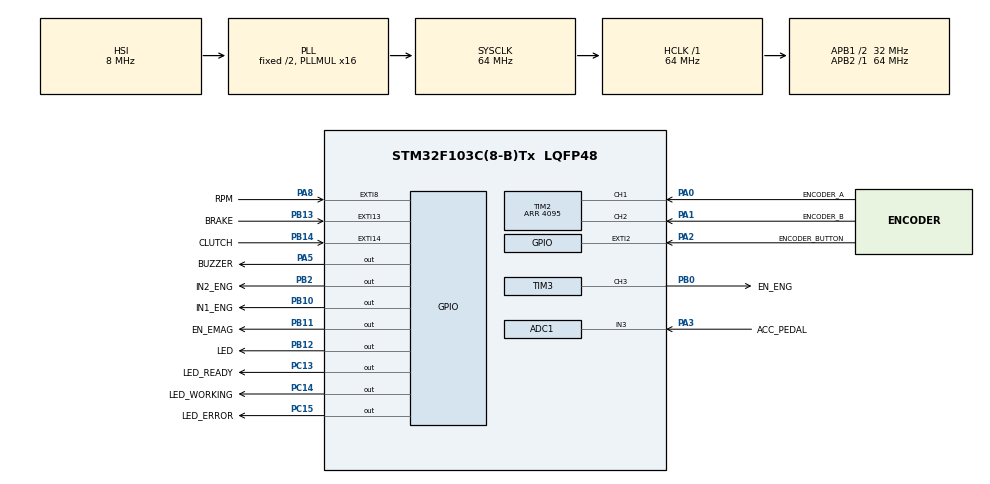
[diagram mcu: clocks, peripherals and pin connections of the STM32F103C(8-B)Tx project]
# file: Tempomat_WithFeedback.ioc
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ADC1.Channel-0\#ChannelRegularConversion=ADC_CHANNEL_3
ADC1.ContinuousConvMode=ENABLE
ADC1.NbrOfConversionFlag=1
ADC1.Rank-0\#ChannelRegularConversion=1
ADC1.SamplingTime-0\#ChannelRegularConversion=ADC_SAMPLETIME_239CYCLES_5
ADC1.master=1
Dma.ADC1.0.Direction=DMA_PERIPH_TO_MEMORY
Dma.ADC1.0.Instance=DMA1_Channel1
Dma.ADC1.0.MemDataAlignment=DMA_MDATAALIGN_HALFWORD
Dma.ADC1.0.MemInc=DMA_MINC_ENABLE
Dma.ADC1.0.Mode=DMA_CIRCULAR
Dma.ADC1.0.PeriphDataAlignment=DMA_PDATAALIGN_HALFWORD
Dma.ADC1.0.PeriphInc=DMA_PINC_DISABLE
Dma.ADC1.0.Priority=DMA_PRIORITY_LOW
Dma.Request0=ADC1
FREERTOS.INCLUDE_vTaskDelayUntil=1
FREERTOS.Tasks01=My_Task_1000ms,0,256,Start_My_Task_1000ms,Default,NULL,Dynamic,NULL,NULL;EngineControl,-1,128,Start_EngineControl,Default,NULL,Dynamic,NULL,NULL
FREERTOS.configUSE_NEWLIB_REENTRANT=0
Mcu.Family=STM32F1
Mcu.Name=STM32F103C(8-B)Tx
Mcu.Package=LQFP48
NVIC.DMA1_Channel1_IRQn=true\:5\:0\:false\:false\:true\:true\:false\:true
NVIC.EXTI15_10_IRQn=true\:5\:0\:false\:false\:true\:true\:true\:true
NVIC.EXTI2_IRQn=true\:8\:0\:true\:false\:true\:true\:true\:true
NVIC.EXTI9_5_IRQn=true\:5\:0\:true\:false\:true\:true\:true\:true
NVIC.PriorityGroup=NVIC_PRIORITYGROUP_4
NVIC.TIM1_UP_IRQn=true\:0\:0\:false\:false\:true\:false\:true\:true
NVIC.TimeBase=TIM1_UP_IRQn
NVIC.TimeBaseIP=TIM1
PA0-WKUP.GPIO_Label=ENCODER_A
PA0-WKUP.Signal=S_TIM2_CH1_ETR
PA1.GPIO_Label=ENCODER_B
PA1.Signal=S_TIM2_CH2
PA13.Mode=Serial_Wire
PA13.Signal=SYS_JTMS-SWDIO
PA14.Mode=Serial_Wire
PA14.Signal=SYS_JTCK-SWCLK
PA2.GPIO_Label=ENCODER_BUTTON
PA2.GPIO_PuPd=GPIO_PULLUP
PA2.Signal=GPXTI2
PA3.GPIO_Label=ACC_PEDAL
PA3.Signal=ADCx_IN3
PA5.GPIO_Label=BUZZER
PA5.Signal=GPIO_Output
PA8.GPIO_Label=RPM
PA8.GPIO_PuPd=GPIO_PULLDOWN
PA8.Signal=GPXTI8
PB0.GPIO_Label=EN_ENG
PB0.Signal=S_TIM3_CH3
PB10.GPIO_Label=IN1_ENG
PB10.GPIO_PuPd=GPIO_PULLDOWN
PB10.Signal=GPIO_Output
PB11.GPIO_Label=EN_EMAG
PB11.GPIO_PuPd=GPIO_PULLDOWN
PB11.Signal=GPIO_Output
PB12.GPIO_Label=LED
PB12.Signal=GPIO_Output
PB13.GPIO_Label=BRAKE
PB13.GPIO_PuPd=GPIO_PULLDOWN
PB13.Signal=GPXTI13
PB14.GPIO_Label=CLUTCH
PB14.GPIO_PuPd=GPIO_PULLDOWN
PB14.Signal=GPXTI14
PB2.GPIO_Label=IN2_ENG
PB2.GPIO_PuPd=GPIO_PULLDOWN
PB2.Signal=GPIO_Output
PC13-TAMPER-RTC.GPIO_Label=LED_READY
PC13-TAMPER-RTC.Signal=GPIO_Output
PC14-OSC32_IN.GPIO_Label=LED_WORKING
PC14-OSC32_IN.Signal=GPIO_Output
PC15-OSC32_OUT.GPIO_Label=LED_ERROR
PC15-OSC32_OUT.Signal=GPIO_Output
ProjectManager.HeapSize=0x200
ProjectManager.StackSize=0x400
ProjectManager.TargetToolchain=STM32CubeIDE
RCC.ADCPresc=RCC_ADCPCLK2_DIV8
RCC.AHBFreq_Value=64000000
RCC.APB1CLKDivider=RCC_HCLK_DIV2
RCC.APB1Freq_Value=32000000
RCC.APB1TimFreq_Value=64000000
RCC.APB2Freq_Value=64000000
RCC.APB2TimFreq_Value=64000000
RCC.HCLKFreq_Value=64000000
RCC.PLLMUL=RCC_PLL_MUL16
RCC.SYSCLKFreq_VALUE=64000000
RCC.SYSCLKSource=RCC_SYSCLKSOURCE_PLLCLK
RCC.USBFreq_Value=64000000
SH.ADCx_IN3.0=ADC1_IN3,IN3
SH.S_TIM2_CH1_ETR.0=TIM2_CH1,Encoder_Interface
SH.S_TIM2_CH2.0=TIM2_CH2,Encoder_Interface
SH.S_TIM3_CH3.0=TIM3_CH3,PWM Generation3 CH3
TIM2.EncoderMode=TIM_ENCODERMODE_TI12
TIM2.IC1Filter=15
TIM2.IC2Filter=15
TIM2.Period=4095
TIM3.Channel-PWM\ Generation3\ CH3=TIM_CHANNEL_3
TIM3.Period=199
TIM3.Prescaler=15
VP_FREERTOS_VS_CMSIS_V1.Mode=CMSIS_V1
VP_SYS_VS_tim1.Mode=TIM1
board=custom

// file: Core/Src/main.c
/* USER CODE BEGIN Header */
/**
  ******************************************************************************
  * @file           : main.c
  * @brief          : Main program body
  ******************************************************************************
  * @attention
  *
  * <h2><center>&copy; Copyright (c) 2020 STMicroelectronics.
  * All rights reserved.</center></h2>
  *
  * This software component is licensed by ST under BSD 3-Clause license,
  * the "License"; You may not use this file except in compliance with the
  * License. You may obtain a copy of the License at:
  *                        opensource.org/licenses/BSD-3-Clause
  *
  ******************************************************************************
  */
/* USER CODE END Header */

#include "main.h"
#include "cmsis_os.h"

/* USER CODE BEGIN Includes */

#include "PID.h"

/* USER CODE END Includes */

/* USER CODE BEGIN PTD */

typedef enum {
	NO_ERROR =						(0u),

	EXT_INTERRUPT_NOT_RECOGNIZED =	(2u)
}ERROR_CODE;

typedef enum {
	NOTHING = 						(0),
	DECREASE = 						(-1),
	INCREASE = 						(1)
}DIRECTION;

typedef enum{
	NO_SOUND =						(0u),

	BUTTON_CLICK =					(2u)
}BUZZER_SOUNDS;

/* USER CODE END PTD */

/* USER CODE BEGIN PD */

/* PID regulator defines */
#define P_REGULATOR_GAIN			((float)(1.0))
#define I_REGULATOR_GAIN			((float)(0.5))
#define D_REGULATOR_GAIN			((float)(1.0))
#define DT_SAMPLING_RERIOD			((float)(1000))		//in ms

/* BUZZER defines */
#define BUTTON_CLICK_BUZZER_LENGTH	((uint32_t)(100))	// in ms

/* ADC defines */
#define ADC_NO_OF_READINGS			((uint32_t)(1))
#define MAX_ADC_ACCELERATION_READOUT	((uint32_t)(2000))	//TODO: max what an ADC can read as a max gas pedal position
#define MIN_ADC_ACCELERATION_READOUT	((uint32_t)(1000))	//TODO: min what an ADC can read as a min gas pedal position
#define ADC_VALUE_MULTIPLER			((uint32_t)(1))		// in case the control values were too strong for the ADC values, the values can be adjusted
#define ADC_ERROR_GAIN				((int32_t)(1))

/* RPM sefines */
#define MAX_ALLOWED_RPM				((uint32_t)(3500))
#define MIN_ALLOWED_RPM				((uint32_t)(1200))
#define SHUTDOWN_HIGH_RPM			((uint32_t)(3700))
#define ENCODER_RPM_SETTING_STEP	((uint32_t)(10))
#define IMPULSES_PER_ONE_ENGINE_REVOLUTION	((uint32_t)(12))

/* TIMERs defines */
#define PWM_TIMER					(TIM3)
#define PWM_RESOLUTION				(PWM_TIMER->ARR)
#define PWM_PULSE					(PWM_TIMER->CCR3)

/* H-BRIDGE defines */
#define DECREASE_ENG_TERMINAL_PORT	(IN2_ENG_GPIO_Port)
#define DECREASE_ENG_TERMINAL_PIN	(IN2_ENG_Pin)
#define INCREASE_ENG_TERMINAL_PORT	(IN1_ENG_GPIO_Port)
#define INCREASE_ENG_TERMINAL_PIN	(IN1_ENG_Pin)

/* REGULATING constants */
#define MAX_CONTROL_SIGNAL			((int32_t)(100))
#define MIN_CONTROL_SIGNAL			((int32_t)(-100))

/* LEDs defines */
#define BUILT_IN_LED_PORT			(LED_GPIO_Port)
#define BUILT_IN_LED_PIN			(LED_GPIO_Pin)

/* Constant values */
#define TRUE	((uint8_t)(1))
#define True	((uint8_t)(1))
#define true	((uint8_t)(1))
#define FALSE	((uint8_t)(0))
#define False	((uint8_t)(0))
#define false	((uint8_t)(0))
#define ON		((uint8_t)(1))
#define OFF		((uint8_t)(0))

/* USER CODE END PD */

ADC_HandleTypeDef hadc1;
DMA_HandleTypeDef hdma_adc1;

TIM_HandleTypeDef htim2;
TIM_HandleTypeDef htim3;

osThreadId My_Task_1000msHandle;
osThreadId EngineControlHandle;
/* USER CODE BEGIN PV */

volatile uint32_t ADC1_results[ADC_NO_OF_READINGS] = {0};
volatile uint32_t ADCDesiredAccelerationValue = 0;
static volatile ERROR_CODE ErrorCode = NO_ERROR;
static volatile BUZZER_SOUNDS BuzzerSounds = NO_SOUND;

static volatile uint8_t STATE = OFF;
static volatile uint32_t RPM_counter = 0;
static uint32_t Set_RPM = 2000;

/* USER CODE END PV */

void SystemClock_Config(void);
static void MX_GPIO_Init(void);
static void MX_DMA_Init(void);
static void MX_ADC1_Init(void);
static void MX_TIM2_Init(void);
static void MX_TIM3_Init(void);
void Start_My_Task_1000ms(void const * argument);
void Start_EngineControl(void const * argument);

/* USER CODE BEGIN PFP */
void HAL_GPIO_EXTI_Callback(uint16_t GPIO_Pin);
void Encoder_Button_Function(void);
void Set_Direction(DIRECTION direction);
void Set_Electromagnes_On(void);
void Set_Electromagnes_Off(void);
void Complete_Shutdown(void);
void Update_Encoder_Settings(void);
void Make_Soud(void);

/* USER CODE END PFP */

int main(void)
{

  /* MCU Configuration--------------------------------------------------------*/

  /* Reset of all peripherals, Initializes the Flash interface and the Systick. */
  HAL_Init();

  /* Configure the system clock */
  SystemClock_Config();

  /* Initialize all configured peripherals */
  MX_GPIO_Init();
  MX_DMA_Init();
  MX_ADC1_Init();
  MX_TIM2_Init();
  MX_TIM3_Init();
  /* USER CODE BEGIN 2 */

  HAL_GPIO_WritePin(LED_READY_GPIO_Port, LED_READY_Pin, SET);
  HAL_GPIO_WritePin(LED_WORKING_GPIO_Port, LED_WORKING_Pin, SET);
  HAL_GPIO_WritePin(LED_ERROR_GPIO_Port, LED_ERROR_Pin, SET);

  while(HAL_OK != HAL_ADCEx_Calibration_Start(&hadc1));

  HAL_ADC_Start_DMA(&hadc1, (uint32_t*)ADC1_results, ADC_NO_OF_READINGS);
  HAL_TIM_PWM_Start(&htim3, TIM_CHANNEL_3);
  HAL_TIM_Base_Start(&htim2);

  HAL_Delay(1000);

  /* USER CODE END 2 */

  /* Create the thread(s) */
  /* definition and creation of My_Task_1000ms */
  osThreadDef(My_Task_1000ms, Start_My_Task_1000ms, osPriorityNormal, 0, 256);
  My_Task_1000msHandle = osThreadCreate(osThread(My_Task_1000ms), NULL);

  /* definition and creation of EngineControl */
  osThreadDef(EngineControl, Start_EngineControl, osPriorityBelowNormal, 0, 128);
  EngineControlHandle = osThreadCreate(osThread(EngineControl), NULL);

  /* Start scheduler */
  osKernelStart();

  /* We should never get here as control is now taken by the scheduler */
  /* Infinite loop */
  while (1)
  {

  }
}

void SystemClock_Config(void)
{
  RCC_OscInitTypeDef RCC_OscInitStruct = {0};
  RCC_ClkInitTypeDef RCC_ClkInitStruct = {0};
  RCC_PeriphCLKInitTypeDef PeriphClkInit = {0};

  /** Initializes the CPU, AHB and APB busses clocks
  */
  RCC_OscInitStruct.OscillatorType = RCC_OSCILLATORTYPE_HSI;
  RCC_OscInitStruct.HSIState = RCC_HSI_ON;
  RCC_OscInitStruct.HSICalibrationValue = RCC_HSICALIBRATION_DEFAULT;
  RCC_OscInitStruct.PLL.PLLState = RCC_PLL_ON;
  RCC_OscInitStruct.PLL.PLLSource = RCC_PLLSOURCE_HSI_DIV2;
  RCC_OscInitStruct.PLL.PLLMUL = RCC_PLL_MUL16;
  if (HAL_RCC_OscConfig(&RCC_OscInitStruct) != HAL_OK)
  {
    Error_Handler();
  }
  /** Initializes the CPU, AHB and APB busses clocks
  */
  RCC_ClkInitStruct.ClockType = RCC_CLOCKTYPE_HCLK|RCC_CLOCKTYPE_SYSCLK
                              |RCC_CLOCKTYPE_PCLK1|RCC_CLOCKTYPE_PCLK2;
  RCC_ClkInitStruct.SYSCLKSource = RCC_SYSCLKSOURCE_PLLCLK;
  RCC_ClkInitStruct.AHBCLKDivider = RCC_SYSCLK_DIV1;
  RCC_ClkInitStruct.APB1CLKDivider = RCC_HCLK_DIV2;
  RCC_ClkInitStruct.APB2CLKDivider = RCC_HCLK_DIV1;

  if (HAL_RCC_ClockConfig(&RCC_ClkInitStruct, FLASH_LATENCY_2) != HAL_OK)
  {
    Error_Handler();
  }
  PeriphClkInit.PeriphClockSelection = RCC_PERIPHCLK_ADC;
  PeriphClkInit.AdcClockSelection = RCC_ADCPCLK2_DIV8;
  if (HAL_RCCEx_PeriphCLKConfig(&PeriphClkInit) != HAL_OK)
  {
    Error_Handler();
  }
}

static void MX_ADC1_Init(void)
{

  ADC_ChannelConfTypeDef sConfig = {0};

  /** Common config
  */
  hadc1.Instance = ADC1;
  hadc1.Init.ScanConvMode = ADC_SCAN_DISABLE;
  hadc1.Init.ContinuousConvMode = ENABLE;
  hadc1.Init.DiscontinuousConvMode = DISABLE;
  hadc1.Init.ExternalTrigConv = ADC_SOFTWARE_START;
  hadc1.Init.DataAlign = ADC_DATAALIGN_RIGHT;
  hadc1.Init.NbrOfConversion = 1;
  if (HAL_ADC_Init(&hadc1) != HAL_OK)
  {
    Error_Handler();
  }
  /** Configure Regular Channel
  */
  sConfig.Channel = ADC_CHANNEL_3;
  sConfig.Rank = ADC_REGULAR_RANK_1;
  sConfig.SamplingTime = ADC_SAMPLETIME_239CYCLES_5;
  if (HAL_ADC_ConfigChannel(&hadc1, &sConfig) != HAL_OK)
  {
    Error_Handler();
  }

}

static void MX_TIM2_Init(void)
{

  TIM_Encoder_InitTypeDef sConfig = {0};
  TIM_MasterConfigTypeDef sMasterConfig = {0};

  htim2.Instance = TIM2;
  htim2.Init.Prescaler = 0;
  htim2.Init.CounterMode = TIM_COUNTERMODE_UP;
  htim2.Init.Period = 4095;
  htim2.Init.ClockDivision = TIM_CLOCKDIVISION_DIV1;
  htim2.Init.AutoReloadPreload = TIM_AUTORELOAD_PRELOAD_DISABLE;
  sConfig.EncoderMode = TIM_ENCODERMODE_TI12;
  sConfig.IC1Polarity = TIM_ICPOLARITY_RISING;
  sConfig.IC1Selection = TIM_ICSELECTION_DIRECTTI;
  sConfig.IC1Prescaler = TIM_ICPSC_DIV1;
  sConfig.IC1Filter = 15;
  sConfig.IC2Polarity = TIM_ICPOLARITY_RISING;
  sConfig.IC2Selection = TIM_ICSELECTION_DIRECTTI;
  sConfig.IC2Prescaler = TIM_ICPSC_DIV1;
  sConfig.IC2Filter = 15;
  if (HAL_TIM_Encoder_Init(&htim2, &sConfig) != HAL_OK)
  {
    Error_Handler();
  }
  sMasterConfig.MasterOutputTrigger = TIM_TRGO_RESET;
  sMasterConfig.MasterSlaveMode = TIM_MASTERSLAVEMODE_DISABLE;
  if (HAL_TIMEx_MasterConfigSynchronization(&htim2, &sMasterConfig) != HAL_OK)
  {
    Error_Handler();
  }

}

static void MX_TIM3_Init(void)
{

  TIM_MasterConfigTypeDef sMasterConfig = {0};
  TIM_OC_InitTypeDef sConfigOC = {0};

  htim3.Instance = TIM3;
  htim3.Init.Prescaler = 15;
  htim3.Init.CounterMode = TIM_COUNTERMODE_UP;
  htim3.Init.Period = 199;
  htim3.Init.ClockDivision = TIM_CLOCKDIVISION_DIV1;
  htim3.Init.AutoReloadPreload = TIM_AUTORELOAD_PRELOAD_DISABLE;
  if (HAL_TIM_PWM_Init(&htim3) != HAL_OK)
  {
    Error_Handler();
  }
  sMasterConfig.MasterOutputTrigger = TIM_TRGO_RESET;
  sMasterConfig.MasterSlaveMode = TIM_MASTERSLAVEMODE_DISABLE;
  if (HAL_TIMEx_MasterConfigSynchronization(&htim3, &sMasterConfig) != HAL_OK)
  {
    Error_Handler();
  }
  sConfigOC.OCMode = TIM_OCMODE_PWM1;
  sConfigOC.Pulse = 0;
  sConfigOC.OCPolarity = TIM_OCPOLARITY_HIGH;
  sConfigOC.OCFastMode = TIM_OCFAST_DISABLE;
  if (HAL_TIM_PWM_ConfigChannel(&htim3, &sConfigOC, TIM_CHANNEL_3) != HAL_OK)
  {
    Error_Handler();
  }
  HAL_TIM_MspPostInit(&htim3);

}

static void MX_DMA_Init(void)
{

  /* DMA controller clock enable */
  __HAL_RCC_DMA1_CLK_ENABLE();

  /* DMA interrupt init */
  /* DMA1_Channel1_IRQn interrupt configuration */
  HAL_NVIC_SetPriority(DMA1_Channel1_IRQn, 5, 0);
  HAL_NVIC_EnableIRQ(DMA1_Channel1_IRQn);

}

static void MX_GPIO_Init(void)
{
  GPIO_InitTypeDef GPIO_InitStruct = {0};

  /* GPIO Ports Clock Enable */
  __HAL_RCC_GPIOC_CLK_ENABLE();
  __HAL_RCC_GPIOA_CLK_ENABLE();
  __HAL_RCC_GPIOB_CLK_ENABLE();

  /*Configure GPIO pin Output Level */
  HAL_GPIO_WritePin(GPIOC, LED_READY_Pin|LED_WORKING_Pin|LED_ERROR_Pin, GPIO_PIN_RESET);

  /*Configure GPIO pin Output Level */
  HAL_GPIO_WritePin(BUZZER_GPIO_Port, BUZZER_Pin, GPIO_PIN_RESET);

  /*Configure GPIO pin Output Level */
  HAL_GPIO_WritePin(GPIOB, IN2_ENG_Pin|IN1_ENG_Pin|EN_EMAG_Pin|LED_Pin, GPIO_PIN_RESET);

  /*Configure GPIO pins : LED_READY_Pin LED_WORKING_Pin LED_ERROR_Pin */
  GPIO_InitStruct.Pin = LED_READY_Pin|LED_WORKING_Pin|LED_ERROR_Pin;
  GPIO_InitStruct.Mode = GPIO_MODE_OUTPUT_PP;
  GPIO_InitStruct.Pull = GPIO_NOPULL;
  GPIO_InitStruct.Speed = GPIO_SPEED_FREQ_LOW;
  HAL_GPIO_Init(GPIOC, &GPIO_InitStruct);

  /*Configure GPIO pin : ENCODER_BUTTON_Pin */
  GPIO_InitStruct.Pin = ENCODER_BUTTON_Pin;
  GPIO_InitStruct.Mode = GPIO_MODE_IT_RISING;
  GPIO_InitStruct.Pull = GPIO_PULLUP;
  HAL_GPIO_Init(ENCODER_BUTTON_GPIO_Port, &GPIO_InitStruct);

  /*Configure GPIO pin : BUZZER_Pin */
  GPIO_InitStruct.Pin = BUZZER_Pin;
  GPIO_InitStruct.Mode = GPIO_MODE_OUTPUT_PP;
  GPIO_InitStruct.Pull = GPIO_NOPULL;
  GPIO_InitStruct.Speed = GPIO_SPEED_FREQ_LOW;
  HAL_GPIO_Init(BUZZER_GPIO_Port, &GPIO_InitStruct);

  /*Configure GPIO pins : IN2_ENG_Pin IN1_ENG_Pin EN_EMAG_Pin */
  GPIO_InitStruct.Pin = IN2_ENG_Pin|IN1_ENG_Pin|EN_EMAG_Pin;
  GPIO_InitStruct.Mode = GPIO_MODE_OUTPUT_PP;
  GPIO_InitStruct.Pull = GPIO_PULLDOWN;
  GPIO_InitStruct.Speed = GPIO_SPEED_FREQ_LOW;
  HAL_GPIO_Init(GPIOB, &GPIO_InitStruct);

  /*Configure GPIO pin : LED_Pin */
  GPIO_InitStruct.Pin = LED_Pin;
  GPIO_InitStruct.Mode = GPIO_MODE_OUTPUT_PP;
  GPIO_InitStruct.Pull = GPIO_NOPULL;
  GPIO_InitStruct.Speed = GPIO_SPEED_FREQ_LOW;
  HAL_GPIO_Init(LED_GPIO_Port, &GPIO_InitStruct);

  /*Configure GPIO pins : BRAKE_Pin CLUTCH_Pin */
  GPIO_InitStruct.Pin = BRAKE_Pin|CLUTCH_Pin;
  GPIO_InitStruct.Mode = GPIO_MODE_IT_RISING;
  GPIO_InitStruct.Pull = GPIO_PULLDOWN;
  HAL_GPIO_Init(GPIOB, &GPIO_InitStruct);

  /*Configure GPIO pin : RPM_Pin */
  GPIO_InitStruct.Pin = RPM_Pin;
  GPIO_InitStruct.Mode = GPIO_MODE_IT_RISING;
  GPIO_InitStruct.Pull = GPIO_PULLDOWN;
  HAL_GPIO_Init(RPM_GPIO_Port, &GPIO_InitStruct);

  /* EXTI interrupt init*/
  HAL_NVIC_SetPriority(EXTI2_IRQn, 8, 0);
  HAL_NVIC_EnableIRQ(EXTI2_IRQn);

  HAL_NVIC_SetPriority(EXTI9_5_IRQn, 5, 0);
  HAL_NVIC_EnableIRQ(EXTI9_5_IRQn);

  HAL_NVIC_SetPriority(EXTI15_10_IRQn, 5, 0);
  HAL_NVIC_EnableIRQ(EXTI15_10_IRQn);

}

/* USER CODE BEGIN 4 */
void HAL_GPIO_EXTI_Callback(uint16_t GPIO_Pin)
{
	if(RPM_Pin == GPIO_Pin)
	{
		++RPM_counter;
	}
	else
	{
		if((BRAKE_Pin == GPIO_Pin) || (CLUTCH_Pin == GPIO_Pin))
		{
			STATE = OFF;
			Set_Electromagnes_Off();
			Set_Direction(NOTHING);
			PWM_PULSE = 0u;
		}
		else
		{
			if(ENCODER_BUTTON_Pin == GPIO_Pin)
			{
				Encoder_Button_Function();
			}
			else
			{
				ErrorCode = EXT_INTERRUPT_NOT_RECOGNIZED;
			}
		}
	}
}

void Encoder_Button_Function(void)
{
	if(NO_SOUND == BuzzerSounds)
	{
		BuzzerSounds = BUTTON_CLICK;
	}

	if(ON == STATE)
	{
		STATE = OFF;
		Set_Electromagnes_Off();
	}
	else
	{
		STATE = ON;
		Set_Electromagnes_On();
	}
}

void Set_Direction(DIRECTION direction)
{
	switch (direction)
	{
		case DECREASE:
		{
			HAL_GPIO_WritePin(INCREASE_ENG_TERMINAL_PORT, INCREASE_ENG_TERMINAL_PIN, RESET);
			HAL_GPIO_WritePin(DECREASE_ENG_TERMINAL_PORT, DECREASE_ENG_TERMINAL_PIN, SET);
			break;
		}
		case INCREASE:
		{
			HAL_GPIO_WritePin(INCREASE_ENG_TERMINAL_PORT, INCREASE_ENG_TERMINAL_PIN, SET);
			HAL_GPIO_WritePin(DECREASE_ENG_TERMINAL_PORT, DECREASE_ENG_TERMINAL_PIN, RESET);
			break;
		}
		case NOTHING:
		{
			HAL_GPIO_WritePin(INCREASE_ENG_TERMINAL_PORT, INCREASE_ENG_TERMINAL_PIN, RESET);
			HAL_GPIO_WritePin(DECREASE_ENG_TERMINAL_PORT, DECREASE_ENG_TERMINAL_PIN, RESET);
			break;
		}
		default:
		{
			HAL_GPIO_WritePin(INCREASE_ENG_TERMINAL_PORT, INCREASE_ENG_TERMINAL_PIN, RESET);
			HAL_GPIO_WritePin(DECREASE_ENG_TERMINAL_PORT, DECREASE_ENG_TERMINAL_PIN, RESET);
			break;
		}
	}
}

void Set_Electromagnes_On(void)
{
	HAL_GPIO_WritePin(EN_EMAG_GPIO_Port, EN_EMAG_Pin, SET);
}

void Set_Electromagnes_Off(void)
{
	HAL_GPIO_WritePin(EN_EMAG_GPIO_Port, EN_EMAG_Pin, RESET);
}

void Complete_Shutdown(void)
{
	STATE = OFF;
	Set_Electromagnes_Off();
	Set_Direction(NOTHING);
	PWM_PULSE = 0u;
}

void Update_Encoder_Settings(void)
{
	static uint32_t lastEncValue = 0;
	uint32_t encCounterValue = (TIM2->CNT);
	int32_t encDiff = encCounterValue - lastEncValue;
	uint32_t TEMP_Set_RPM = Set_RPM;

	if ((encDiff >= 4u) || (encDiff <= -4))
	{
		encDiff /= 4u;
		TEMP_Set_RPM += (uint32_t)(((int8_t)(encDiff)) * ENCODER_RPM_SETTING_STEP);

		if (TEMP_Set_RPM > MAX_ALLOWED_RPM)
		{
			Set_RPM = MAX_ALLOWED_RPM;
		}
		else
		{
			if (TEMP_Set_RPM < MIN_ALLOWED_RPM)
			{
				Set_RPM = MIN_ALLOWED_RPM;
			}
			else
			{
				Set_RPM = TEMP_Set_RPM;
			}
		}//else

		lastEncValue = encCounterValue;
	}//if

}//void Update_Encoder_Settings(void)

void Make_Soud(void)
{
	static uint32_t iterator = 0;

	switch(BuzzerSounds)
	{
		case NO_SOUND:
		{
			HAL_GPIO_WritePin(BUZZER_GPIO_Port, BUZZER_Pin, RESET);
			break;
		}
		case BUTTON_CLICK:
		{
			HAL_GPIO_WritePin(BUZZER_GPIO_Port, BUZZER_Pin, SET);
			++iterator;
			if (iterator > BUTTON_CLICK_BUZZER_LENGTH)
			{
				BuzzerSounds = NO_SOUND;
				iterator = 0;
			}
			break;
		}
		default:
		{
			HAL_GPIO_WritePin(BUZZER_GPIO_Port, BUZZER_Pin, RESET);
			break;
		}
	}
}
/* USER CODE END 4 */

void Start_My_Task_1000ms(void const * argument)
{
  /* USER CODE BEGIN 5 */
	TickType_t xLastWakeTime;
	const TickType_t xFrequency = 1000;

	uint32_t RPM_from_IRQ = 0;
	int32_t RPM_error = 0;
	uint32_t ADC_value = 0;
	float controlValue = 0.0;

	WritePIDParameters(P_REGULATOR_GAIN, I_REGULATOR_GAIN, D_REGULATOR_GAIN, DT_SAMPLING_RERIOD);

	HAL_GPIO_WritePin(LED_READY_GPIO_Port, LED_READY_Pin, SET);
	HAL_GPIO_WritePin(LED_WORKING_GPIO_Port, LED_WORKING_Pin, RESET);
	HAL_GPIO_WritePin(LED_ERROR_GPIO_Port, LED_ERROR_Pin, RESET);

	xLastWakeTime = xTaskGetTickCount();

	/* Infinite loop */
	/* * * * * * * * * * * * * * * * * * * * * * * * * * * * * * * * * * * * */
	for(;;)
	{
		RPM_from_IRQ = RPM_counter * 60 / IMPULSES_PER_ONE_ENGINE_REVOLUTION;	// now we have revolution per minute
		RPM_counter = 0;	// reset counter

		Update_Encoder_Settings();

		RPM_error = Set_RPM - RPM_from_IRQ;
		ADC_value = ADC1_results[0] * ADC_VALUE_MULTIPLER;

		if(ON == STATE)
		{
			PWM_PULSE = 0;
			Set_Electromagnes_On();
			controlValue = RunPIDController((float)RPM_error);

			if(MIN_CONTROL_SIGNAL > (int32_t)controlValue)
			{
				controlValue = MIN_CONTROL_SIGNAL;
			}
			if(MAX_CONTROL_SIGNAL < (int32_t)controlValue)
			{
				controlValue = MAX_CONTROL_SIGNAL;
			}

			ADCDesiredAccelerationValue = ADC_value + controlValue;
		}
		else
		{
			Complete_Shutdown();
		}

		vTaskDelayUntil(&xLastWakeTime, xFrequency);
	}
  /* USER CODE END 5 */
}

void Start_EngineControl(void const * argument)
{
  /* USER CODE BEGIN Start_EngineControl */
	TickType_t xLastWakeTime;
	const TickType_t xFrequency = 1000;

	int32_t ADCError = 0;

	xLastWakeTime = xTaskGetTickCount();

	/* Infinite loop */
	/* * * * * * * * * * * * * * * * * * * * * * * * * * * * * * * * * * * * */
	for(;;)
	{
		ADCError = (ADCDesiredAccelerationValue - (ADC1_results[0] * ADC_VALUE_MULTIPLER)) * ADC_ERROR_GAIN;

		if(ON == STATE)
		{
			if(0 <= ADCError)
			{
				if(PWM_RESOLUTION < ADCError)
				{
					ADCError = PWM_RESOLUTION;
				}
				Set_Direction(INCREASE);
				PWM_PULSE = ADCError;
			}
			else
			{
				if(PWM_RESOLUTION < (-ADCError))
				{
					ADCError = (-PWM_RESOLUTION);
				}
				Set_Direction(DECREASE);
				PWM_PULSE = (-ADCError);
			}
		}
		else
		{
			Complete_Shutdown();
		}

		vTaskDelayUntil(&xLastWakeTime, xFrequency);
	}
  /* USER CODE END Start_EngineControl */
}

 /**
  * @brief  Period elapsed callback in non blocking mode
  * @note   This function is called  when TIM1 interrupt took place, inside
  * HAL_TIM_IRQHandler(). It makes a direct call to HAL_IncTick() to increment
  * a global variable "uwTick" used as application time base.
  * @param  htim : TIM handle
  * @retval None
  */
void HAL_TIM_PeriodElapsedCallback(TIM_HandleTypeDef *htim)
{
  if (htim->Instance == TIM1) {
    HAL_IncTick();
  }
}

void Error_Handler(void)
{
}

/************************ (C) COPYRIGHT STMicroelectronics *****END OF FILE****/
